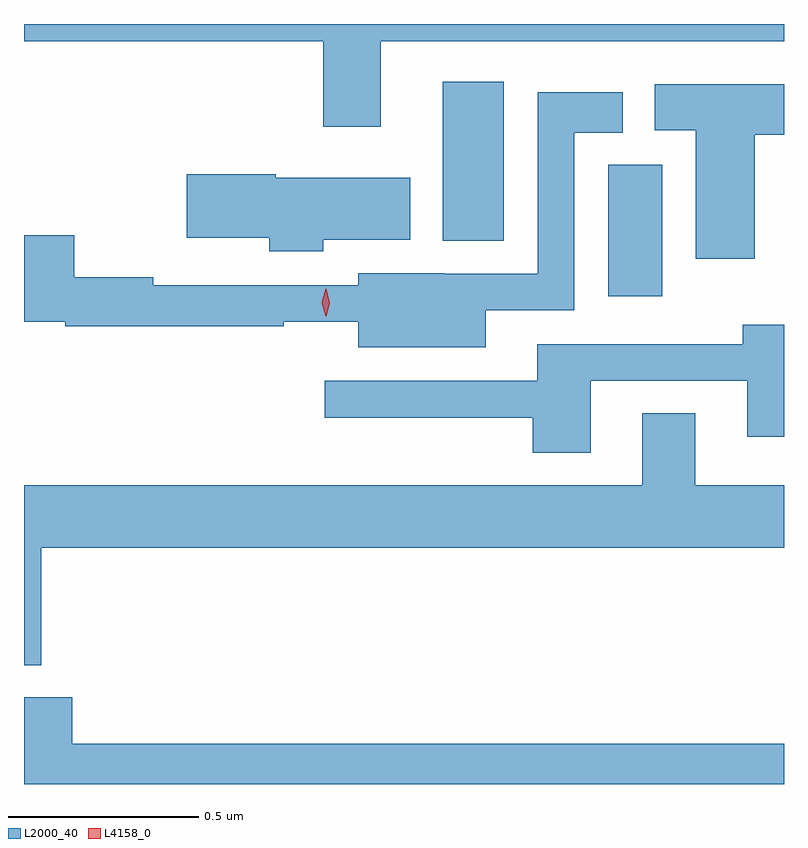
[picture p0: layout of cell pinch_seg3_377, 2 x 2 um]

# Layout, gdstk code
import gdstk
lib = gdstk.Library(unit=1e-6, precision=1e-09)
def R(c, l, rs):  # rectangles x0, y0, x1, y1
    for r in rs: c.add(gdstk.rectangle(r[:2], r[2:], *l))
def P(c, l, *ps):  # polygons
    for p in ps: c.add(gdstk.Polygon(p, *l))
L2000_40 = (2000, 40)
L4158_0 = (4158, 0)

pinch_seg3_377 = lib.new_cell('pinch_seg3_377')
R(pinch_seg3_377, L2000_40, [(1015.169,698.913,1015.312,699.259), (1014.734,699.059,1014.895,699.478)])
P(pinch_seg3_377, L2000_40, [(1014.571,699.584),(1015.632,699.584),(1015.632,699.63),(1013.632,699.63),(1013.632,699.584),(1014.419,699.584),(1014.419,699.36),(1014.571,699.36)],
  [(1015.555,699.338),(1015.632,699.338),(1015.632,699.472),(1015.292,699.472),(1015.292,699.35),(1015.4,699.35),(1015.4,699.012),(1015.555,699.012)],
  [(1014.847,698.877),(1015.08,698.877),(1015.08,699.344),(1015.207,699.344),(1015.207,699.451),(1014.984,699.451),(1014.984,698.973),(1014.738,698.973),(1014.738,698.974),(1014.512,698.974),(1014.512,698.943),(1013.972,698.943),(1013.972,698.963),(1013.764,698.963),(1013.764,699.074),(1013.632,699.074),(1013.632,698.847),(1013.74,698.847),(1013.74,698.835),(1014.316,698.835),(1014.316,698.846),(1014.512,698.846),(1014.512,698.78),(1014.847,698.78)],
  [(1014.42,699.062),(1014.649,699.062),(1014.649,699.226),(1014.294,699.226),(1014.294,699.234),(1014.06,699.234),(1014.06,699.068),(1014.278,699.068),(1014.278,699.032),(1014.42,699.032)],
  [(1015.123,698.691),(1015.535,698.691),(1015.535,698.544),(1015.632,698.544),(1015.632,698.839),(1015.523,698.839),(1015.523,698.787),(1014.983,698.787),(1014.983,698.691),(1014.423,698.691),(1014.423,698.594),(1014.971,698.594),(1014.971,698.502),(1015.123,698.502)],
  [(1013.678,698.252),(1015.632,698.252),(1015.632,698.416),(1015.399,698.416),(1015.399,698.606),(1015.259,698.606),(1015.259,698.416),(1013.632,698.416),(1013.632,697.943),(1013.678,697.943)],
  [(1015.632,697.736),(1013.759,697.736),(1013.759,697.858),(1013.632,697.858),(1013.632,697.63),(1015.632,697.63)])
P(pinch_seg3_377, L4158_0, [(1014.426,698.861),(1014.426,698.861),(1014.416,698.897),(1014.426,698.933),(1014.426,698.933),(1014.427,698.933),(1014.436,698.897),(1014.427,698.861)])

lib.write_gds('pinch_seg3_377.gds')
